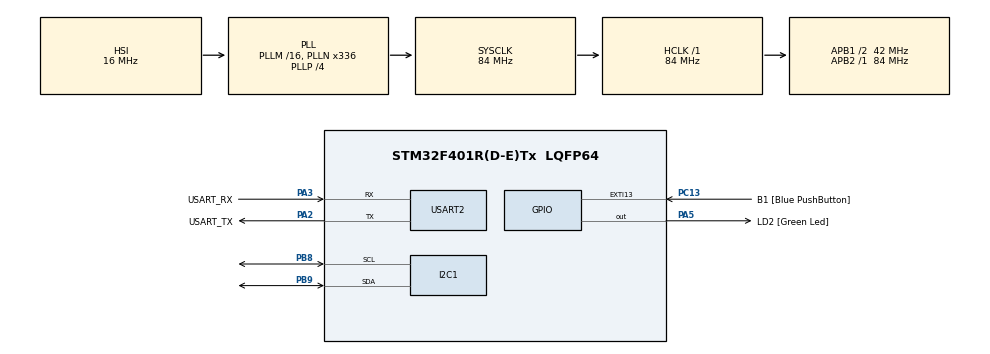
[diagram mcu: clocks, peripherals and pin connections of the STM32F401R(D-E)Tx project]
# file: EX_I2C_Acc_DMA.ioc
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Dma.Request0=USART2_TX
Dma.USART2_TX.0.Direction=DMA_MEMORY_TO_PERIPH
Dma.USART2_TX.0.FIFOMode=DMA_FIFOMODE_DISABLE
Dma.USART2_TX.0.Instance=DMA1_Stream6
Dma.USART2_TX.0.MemDataAlignment=DMA_MDATAALIGN_BYTE
Dma.USART2_TX.0.MemInc=DMA_MINC_ENABLE
Dma.USART2_TX.0.Mode=DMA_NORMAL
Dma.USART2_TX.0.PeriphDataAlignment=DMA_PDATAALIGN_BYTE
Dma.USART2_TX.0.PeriphInc=DMA_PINC_DISABLE
Dma.USART2_TX.0.Priority=DMA_PRIORITY_LOW
Mcu.Family=STM32F4
Mcu.Name=STM32F401R(D-E)Tx
Mcu.Package=LQFP64
NVIC.DMA1_Stream6_IRQn=true\:0\:0\:false\:false\:true\:false\:true
NVIC.PriorityGroup=NVIC_PRIORITYGROUP_0
NVIC.TIM2_IRQn=true\:0\:0\:false\:false\:true\:true\:true
NVIC.USART2_IRQn=true\:0\:0\:false\:false\:true\:true\:true
PA13.GPIO_Label=TMS
PA13.Mode=Serial_Wire
PA13.Signal=SYS_JTMS-SWDIO
PA14.GPIO_Label=TCK
PA14.Mode=Serial_Wire
PA14.Signal=SYS_JTCK-SWCLK
PA2.GPIO_Label=USART_TX
PA2.GPIO_Mode=GPIO_MODE_AF_PP
PA2.GPIO_PuPd=GPIO_NOPULL
PA2.GPIO_Speed=GPIO_SPEED_FREQ_LOW
PA2.Mode=Asynchronous
PA2.Signal=USART2_TX
PA3.GPIO_Label=USART_RX
PA3.GPIO_Mode=GPIO_MODE_AF_PP
PA3.GPIO_PuPd=GPIO_NOPULL
PA3.GPIO_Speed=GPIO_SPEED_FREQ_LOW
PA3.Mode=Asynchronous
PA3.Signal=USART2_RX
PA5.GPIO_Label=LD2 [Green Led]
PA5.GPIO_Mode=GPIO_MODE_OUTPUT_PP
PA5.GPIO_PuPd=GPIO_NOPULL
PA5.GPIO_Speed=GPIO_SPEED_FREQ_LOW
PA5.Signal=GPIO_Output
PB3.GPIO_Label=SWO
PB3.Signal=SYS_JTDO-SWO
PB8.Mode=I2C
PB8.Signal=I2C1_SCL
PB9.Mode=I2C
PB9.Signal=I2C1_SDA
PC13-ANTI_TAMP.GPIO_Label=B1 [Blue PushButton]
PC13-ANTI_TAMP.GPIO_ModeDefaultEXTI=GPIO_MODE_IT_FALLING
PC13-ANTI_TAMP.GPIO_PuPd=GPIO_NOPULL
PC13-ANTI_TAMP.Signal=GPXTI13
PC14-OSC32_IN.Mode=LSE-External-Oscillator
PC14-OSC32_IN.Signal=RCC_OSC32_IN
PC15-OSC32_OUT.Mode=LSE-External-Oscillator
PC15-OSC32_OUT.Signal=RCC_OSC32_OUT
PH0\ -\ OSC_IN.Mode=HSE-External-Clock-Source
PH0\ -\ OSC_IN.Signal=RCC_OSC_IN
PH1\ -\ OSC_OUT.Mode=HSE-External-Clock-Source
PH1\ -\ OSC_OUT.Signal=RCC_OSC_OUT
ProjectManager.HeapSize=0x200
ProjectManager.StackSize=0x400
ProjectManager.TargetToolchain=STM32CubeIDE
RCC.48MHZClocksFreq_Value=48000000
RCC.AHBFreq_Value=84000000
RCC.APB1CLKDivider=RCC_HCLK_DIV2
RCC.APB1Freq_Value=42000000
RCC.APB1TimFreq_Value=84000000
RCC.APB2Freq_Value=84000000
RCC.APB2TimFreq_Value=84000000
RCC.CortexFreq_Value=84000000
RCC.HCLKFreq_Value=84000000
RCC.HSE_VALUE=8000000
RCC.HSI_VALUE=16000000
RCC.PLLN=336
RCC.PLLP=RCC_PLLP_DIV4
RCC.PLLQ=7
RCC.SYSCLKFreq_VALUE=84000000
RCC.SYSCLKSource=RCC_SYSCLKSOURCE_PLLCLK
RCC.VCOOutputFreq_Value=336000000
TIM2.Period=10000-1
TIM2.Prescaler=8400-1
USART2.VirtualMode=VM_ASYNC
VP_TIM2_VS_ClockSourceINT.Mode=Internal
board=NUCLEO-F401RE

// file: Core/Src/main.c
/* USER CODE BEGIN Header */
/**
  ******************************************************************************
  * @file           : main.c
  * @brief          : Main program body
  ******************************************************************************
  * @attention
  *
  * Copyright (c) 2022 STMicroelectronics.
  * All rights reserved.
  *
  * This software is licensed under terms that can be found in the LICENSE file
  * in the root directory of this software component.
  * If no LICENSE file comes with this software, it is provided AS-IS.
  *
  ******************************************************************************
  */
/* USER CODE END Header */
#include "main.h"

I2C_HandleTypeDef hi2c1;

TIM_HandleTypeDef htim2;

UART_HandleTypeDef huart2;
DMA_HandleTypeDef hdma_usart2_tx;

void SystemClock_Config(void);
static void MX_GPIO_Init(void);
static void MX_USART2_UART_Init(void);
static void MX_I2C1_Init(void);
static void MX_DMA_Init(void);
static void MX_TIM2_Init(void);

/* USER CODE BEGIN 0 */

#define LSI_ADDR 0b01010000
uint8_t X_Reg = 0x29;
uint8_t Y_Reg = 0x2B;
uint8_t Z_Reg = 0x2D;

int8_t x = 0;
int8_t y = 0;
int8_t z = 0;

void HAL_TIM_PeriodElapsedCallback(TIM_HandleTypeDef *htim)
{
	char string[64];

	HAL_I2C_Master_Transmit(&hi2c1, LSI_ADDR, &X_Reg, 1, 200);
	HAL_I2C_Master_Receive(&hi2c1, LSI_ADDR+1, &x, 1, 200);

	HAL_I2C_Master_Transmit(&hi2c1, LSI_ADDR, &Y_Reg, 1, 200);
	HAL_I2C_Master_Receive(&hi2c1, LSI_ADDR+1, &y, 1,200);

	HAL_I2C_Master_Transmit(&hi2c1, LSI_ADDR, &Z_Reg, 1, 200);
	HAL_I2C_Master_Receive(&hi2c1, LSI_ADDR+1, &z, 1, 200);

	float x_g = x/64.0;
	float y_g = y/64.0;
	float z_g = z/64.0;

    int length = snprintf(string, sizeof(string), "X: %+.2f g\r\nY: %+.2f g\r\nZ: %+.2f g\r\n\n\n",x_g,y_g,z_g);
    HAL_UART_Transmit_DMA(&huart2, string, length);

}
/* USER CODE END 0 */

int main(void)
{

  /* MCU Configuration--------------------------------------------------------*/

  /* Reset of all peripherals, Initializes the Flash interface and the Systick. */
  HAL_Init();

  /* Configure the system clock */
  SystemClock_Config();

  /* USER CODE BEGIN SysInit */
  MX_DMA_Init();
  /* USER CODE END SysInit */

  /* Initialize all configured peripherals */
  MX_GPIO_Init();
  MX_USART2_UART_Init();
  MX_I2C1_Init();
  MX_DMA_Init();
  MX_TIM2_Init();
  /* USER CODE BEGIN 2 */
  HAL_TIM_Base_Start_IT(&htim2);

  uint8_t ctrl_reg1[] = {0x20, 0b00010111}; //0001 -> 1Hz 0-> Normal mode 111->X,Y,Z axes enabled
  uint8_t ctrl_reg2[] = {0x21, 0b00000000}; //all 0s-> all filters disabled
  uint8_t ctrl_reg4[] = {0x23, 0b00000000}; //3rd and 4th zeroes -> 2g resolution

  HAL_I2C_Master_Transmit(&hi2c1, LSI_ADDR, ctrl_reg1, 2, 200);
  HAL_I2C_Master_Transmit(&hi2c1, LSI_ADDR, ctrl_reg2, 2, 200);
  HAL_I2C_Master_Transmit(&hi2c1, LSI_ADDR, ctrl_reg4, 2, 200);

  /* USER CODE END 2 */

  /* Infinite loop */
  while (1)
  {

  }
}

void SystemClock_Config(void)
{
  RCC_OscInitTypeDef RCC_OscInitStruct = {0};
  RCC_ClkInitTypeDef RCC_ClkInitStruct = {0};

  /** Configure the main internal regulator output voltage
  */
  __HAL_RCC_PWR_CLK_ENABLE();
  __HAL_PWR_VOLTAGESCALING_CONFIG(PWR_REGULATOR_VOLTAGE_SCALE2);
  /** Initializes the RCC Oscillators according to the specified parameters
  * in the RCC_OscInitTypeDef structure.
  */
  RCC_OscInitStruct.OscillatorType = RCC_OSCILLATORTYPE_HSI;
  RCC_OscInitStruct.HSIState = RCC_HSI_ON;
  RCC_OscInitStruct.HSICalibrationValue = RCC_HSICALIBRATION_DEFAULT;
  RCC_OscInitStruct.PLL.PLLState = RCC_PLL_ON;
  RCC_OscInitStruct.PLL.PLLSource = RCC_PLLSOURCE_HSI;
  RCC_OscInitStruct.PLL.PLLM = 16;
  RCC_OscInitStruct.PLL.PLLN = 336;
  RCC_OscInitStruct.PLL.PLLP = RCC_PLLP_DIV4;
  RCC_OscInitStruct.PLL.PLLQ = 7;
  if (HAL_RCC_OscConfig(&RCC_OscInitStruct) != HAL_OK)
  {
    Error_Handler();
  }
  /** Initializes the CPU, AHB and APB buses clocks
  */
  RCC_ClkInitStruct.ClockType = RCC_CLOCKTYPE_HCLK|RCC_CLOCKTYPE_SYSCLK
                              |RCC_CLOCKTYPE_PCLK1|RCC_CLOCKTYPE_PCLK2;
  RCC_ClkInitStruct.SYSCLKSource = RCC_SYSCLKSOURCE_PLLCLK;
  RCC_ClkInitStruct.AHBCLKDivider = RCC_SYSCLK_DIV1;
  RCC_ClkInitStruct.APB1CLKDivider = RCC_HCLK_DIV2;
  RCC_ClkInitStruct.APB2CLKDivider = RCC_HCLK_DIV1;

  if (HAL_RCC_ClockConfig(&RCC_ClkInitStruct, FLASH_LATENCY_2) != HAL_OK)
  {
    Error_Handler();
  }
}

static void MX_I2C1_Init(void)
{

  hi2c1.Instance = I2C1;
  hi2c1.Init.ClockSpeed = 100000;
  hi2c1.Init.DutyCycle = I2C_DUTYCYCLE_2;
  hi2c1.Init.OwnAddress1 = 0;
  hi2c1.Init.AddressingMode = I2C_ADDRESSINGMODE_7BIT;
  hi2c1.Init.DualAddressMode = I2C_DUALADDRESS_DISABLE;
  hi2c1.Init.OwnAddress2 = 0;
  hi2c1.Init.GeneralCallMode = I2C_GENERALCALL_DISABLE;
  hi2c1.Init.NoStretchMode = I2C_NOSTRETCH_DISABLE;
  if (HAL_I2C_Init(&hi2c1) != HAL_OK)
  {
    Error_Handler();
  }

}

static void MX_TIM2_Init(void)
{

  TIM_ClockConfigTypeDef sClockSourceConfig = {0};
  TIM_MasterConfigTypeDef sMasterConfig = {0};

  htim2.Instance = TIM2;
  htim2.Init.Prescaler = 8400-1;
  htim2.Init.CounterMode = TIM_COUNTERMODE_UP;
  htim2.Init.Period = 10000-1;
  htim2.Init.ClockDivision = TIM_CLOCKDIVISION_DIV1;
  htim2.Init.AutoReloadPreload = TIM_AUTORELOAD_PRELOAD_DISABLE;
  if (HAL_TIM_Base_Init(&htim2) != HAL_OK)
  {
    Error_Handler();
  }
  sClockSourceConfig.ClockSource = TIM_CLOCKSOURCE_INTERNAL;
  if (HAL_TIM_ConfigClockSource(&htim2, &sClockSourceConfig) != HAL_OK)
  {
    Error_Handler();
  }
  sMasterConfig.MasterOutputTrigger = TIM_TRGO_RESET;
  sMasterConfig.MasterSlaveMode = TIM_MASTERSLAVEMODE_DISABLE;
  if (HAL_TIMEx_MasterConfigSynchronization(&htim2, &sMasterConfig) != HAL_OK)
  {
    Error_Handler();
  }

}

static void MX_USART2_UART_Init(void)
{

  huart2.Instance = USART2;
  huart2.Init.BaudRate = 115200;
  huart2.Init.WordLength = UART_WORDLENGTH_8B;
  huart2.Init.StopBits = UART_STOPBITS_1;
  huart2.Init.Parity = UART_PARITY_NONE;
  huart2.Init.Mode = UART_MODE_TX_RX;
  huart2.Init.HwFlowCtl = UART_HWCONTROL_NONE;
  huart2.Init.OverSampling = UART_OVERSAMPLING_16;
  if (HAL_UART_Init(&huart2) != HAL_OK)
  {
    Error_Handler();
  }

}

static void MX_DMA_Init(void)
{

  /* DMA controller clock enable */
  __HAL_RCC_DMA1_CLK_ENABLE();

  /* DMA interrupt init */
  /* DMA1_Stream6_IRQn interrupt configuration */
  HAL_NVIC_SetPriority(DMA1_Stream6_IRQn, 0, 0);
  HAL_NVIC_EnableIRQ(DMA1_Stream6_IRQn);

}

static void MX_GPIO_Init(void)
{
  GPIO_InitTypeDef GPIO_InitStruct = {0};

  /* GPIO Ports Clock Enable */
  __HAL_RCC_GPIOC_CLK_ENABLE();
  __HAL_RCC_GPIOH_CLK_ENABLE();
  __HAL_RCC_GPIOA_CLK_ENABLE();
  __HAL_RCC_GPIOB_CLK_ENABLE();

  /*Configure GPIO pin Output Level */
  HAL_GPIO_WritePin(LD2_GPIO_Port, LD2_Pin, GPIO_PIN_RESET);

  /*Configure GPIO pin : B1_Pin */
  GPIO_InitStruct.Pin = B1_Pin;
  GPIO_InitStruct.Mode = GPIO_MODE_IT_FALLING;
  GPIO_InitStruct.Pull = GPIO_NOPULL;
  HAL_GPIO_Init(B1_GPIO_Port, &GPIO_InitStruct);

  /*Configure GPIO pin : LD2_Pin */
  GPIO_InitStruct.Pin = LD2_Pin;
  GPIO_InitStruct.Mode = GPIO_MODE_OUTPUT_PP;
  GPIO_InitStruct.Pull = GPIO_NOPULL;
  GPIO_InitStruct.Speed = GPIO_SPEED_FREQ_LOW;
  HAL_GPIO_Init(LD2_GPIO_Port, &GPIO_InitStruct);

}

void Error_Handler(void)
{
  __disable_irq();
  while (1)
  {
  }
}
